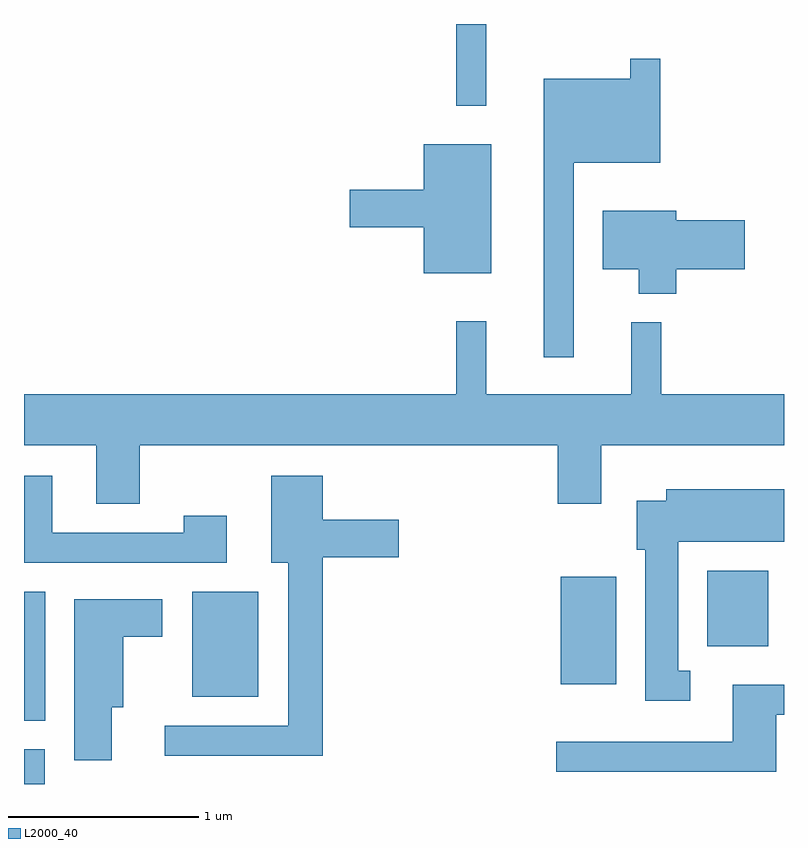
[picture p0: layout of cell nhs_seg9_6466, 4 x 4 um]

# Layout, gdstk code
import gdstk
lib = gdstk.Library(unit=1e-6, precision=1e-09)
def R(c, l, rs):  # rectangles x0, y0, x1, y1
    for r in rs: c.add(gdstk.rectangle(r[:2], r[2:], *l))
def P(c, l, *ps):  # polygons
    for p in ps: c.add(gdstk.Polygon(p, *l))
L2000_40 = (2000, 40)

nhs_seg9_6466 = lib.new_cell('nhs_seg9_6466')
R(nhs_seg9_6466, L2000_40, [(375.611,2034.432,375.719,2034.614), (375.611,2034.766,375.724,2035.444), (376.496,2034.891,376.844,2035.444), (378.436,2034.956,378.729,2035.524), (379.206,2035.156,379.529,2035.554), (377.886,2038.003,378.044,2038.432)])
P(nhs_seg9_6466, L2000_40, [(378.504,2037.701),(378.959,2037.701),(378.959,2038.248),(378.801,2038.248),(378.801,2038.144),(378.346,2038.144),(378.346,2036.678),(378.504,2036.678)],
  [(378.069,2037.799),(377.716,2037.799),(377.716,2037.559),(377.326,2037.559),(377.326,2037.361),(377.716,2037.361),(377.716,2037.121),(378.069,2037.121)],
  [(379.044,2037.141),(379.404,2037.141),(379.404,2037.399),(379.044,2037.399),(379.044,2037.449),(378.656,2037.449),(378.656,2037.141),(378.846,2037.141),(378.846,2037.011),(379.044,2037.011)],
  [(376.219,2036.216),(378.421,2036.216),(378.421,2035.906),(378.649,2035.906),(378.649,2036.216),(379.611,2036.216),(379.611,2036.484),(378.964,2036.484),(378.964,2036.863),(378.806,2036.863),(378.806,2036.484),(378.044,2036.484),(378.044,2036.868),(377.886,2036.868),(377.886,2036.484),(375.611,2036.484),(375.611,2036.216),(375.991,2036.216),(375.991,2035.906),(376.219,2035.906)],
  [(376.679,2035.844),(376.451,2035.844),(376.451,2035.754),(375.759,2035.754),(375.759,2036.054),(375.611,2036.054),(375.611,2035.596),(376.679,2035.596)],
  [(377.184,2035.626),(377.584,2035.626),(377.584,2035.824),(377.184,2035.824),(377.184,2036.054),(376.911,2036.054),(376.911,2035.596),(377.001,2035.596),(377.001,2034.739),(376.353,2034.739),(376.353,2034.581),(377.184,2034.581)],
  [(379.118,2035.029),(379.054,2035.029),(379.054,2035.706),(379.611,2035.706),(379.611,2035.984),(378.991,2035.984),(378.991,2035.924),(378.836,2035.924),(378.836,2035.666),(378.881,2035.666),(378.881,2034.871),(379.118,2034.871)],
  [(376.074,2034.836),(376.134,2034.836),(376.134,2035.206),(376.339,2035.206),(376.339,2035.404),(375.876,2035.404),(375.876,2034.556),(376.074,2034.556)],
  [(379.569,2034.796),(379.611,2034.796),(379.611,2034.954),(379.341,2034.954),(379.341,2034.654),(378.413,2034.654),(378.413,2034.496),(379.569,2034.496)])

lib.write_gds('nhs_seg9_6466.gds')
